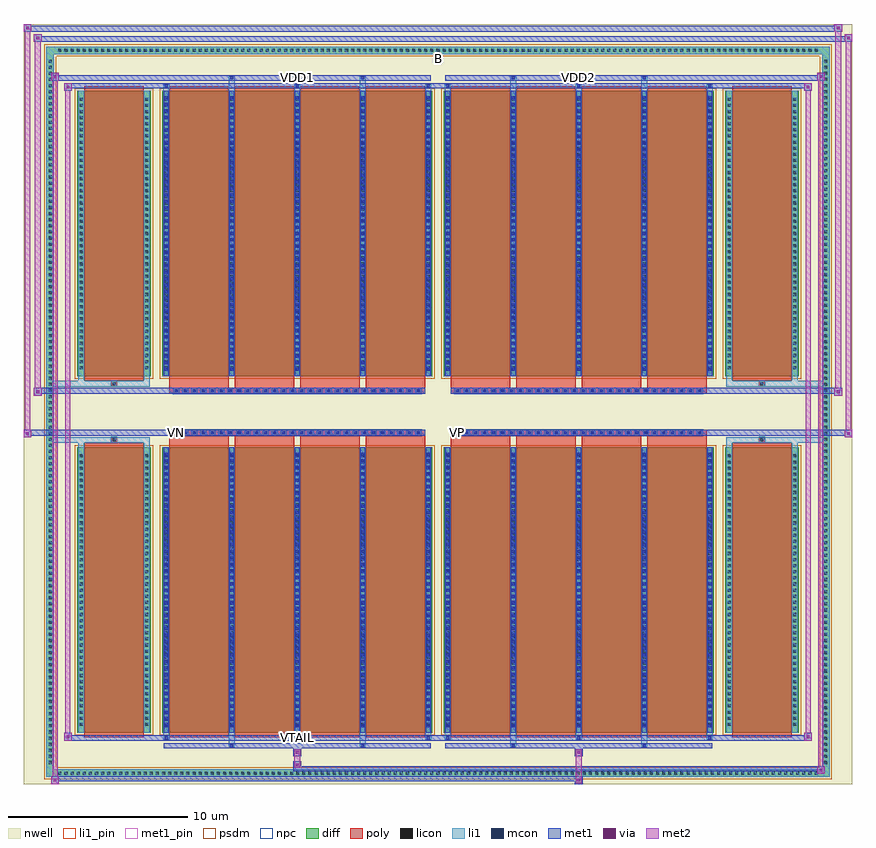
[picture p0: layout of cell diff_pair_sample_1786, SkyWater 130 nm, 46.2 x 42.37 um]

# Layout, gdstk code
import gdstk
lib = gdstk.Library(unit=1e-6, precision=5e-09)
def R(c, l, rs):  # rectangles x0, y0, x1, y1
    for r in rs: c.add(gdstk.rectangle(r[:2], r[2:], *l))
def A(c, l, x, y, w, h, nx, ny, dx, dy):  # array of equal rectangles
    R(c, l, [(x+i*dx, y+j*dy, x+i*dx+w, y+j*dy+h) for i in range(nx) for j in range(ny)])
def P(c, l, *ps):  # polygons
    for p in ps: c.add(gdstk.Polygon(p, *l))
nwell = (64, 20)
diff = (65, 20)
poly = (66, 20)
licon = (66, 44)
li1_pin = (67, 16)
li1 = (67, 20)
mcon = (67, 44)
met1_pin = (68, 16)
met1 = (68, 20)
via = (68, 44)
met2 = (69, 20)
psdm = (94, 20)
npc = (95, 20)

diff_pair_sample_1786 = lib.new_cell('diff_pair_sample_1786')
R(diff_pair_sample_1786, nwell, [(-23.1,-20.75,23.1,21.62), (-20.42,-18.94,-0.01,-0.8), (0.01,-18.94,20.42,-0.8), (-20.42,0.8,-0.01,18.94), (0.01,0.8,20.42,18.94)])
A(diff_pair_sample_1786, diff, -21.285, -20.35, 0.41, 0.41, 125, 2, 0.34, 40.29)
A(diff_pair_sample_1786, diff, -21.83, -19.755, 0.41, 0.41, 1, 116, 0, 0.34)
A(diff_pair_sample_1786, diff, 21.42, -19.755, 0.41, 0.41, 1, 116, 0, 0.34)
R(diff_pair_sample_1786, diff, [(-21.285,-20.35,21.285,-19.94), (-21.83,-19.755,-21.42,19.755), (21.42,-19.755,21.83,19.755), (-20.11,-17.895,-16.01,-1.985), (-15.37,-17.895,-0.32,-1.985), (0.32,-17.895,15.37,-1.985), (16.01,-17.895,20.11,-1.985), (-20.11,1.985,-16.01,17.895), (-15.37,1.985,-0.32,17.895), (0.32,1.985,15.37,17.895), (16.01,1.985,20.11,17.895), (-21.285,19.94,21.285,20.35)])
P(diff_pair_sample_1786, diff, [(21.83,20.35),(-21.83,20.35),(-21.83,-19.94),(-21.42,-19.94),(-21.42,19.94),(21.42,19.94),(21.42,-19.94),(-21.42,-19.94),(-21.83,-19.94),(-21.83,-20.35),(21.83,-20.35)])
A(diff_pair_sample_1786, poly, -14.98, -18.145, 3.32, 16.41, 4, 2, 3.65, 19.88)
A(diff_pair_sample_1786, poly, 0.71, -18.145, 3.32, 16.41, 4, 2, 3.65, 19.88)
A(diff_pair_sample_1786, poly, -14.98, -1.735, 3.32, 0.405, 4, 2, 3.65, 3.065)
A(diff_pair_sample_1786, poly, 0.71, -1.735, 3.32, 0.405, 4, 2, 3.65, 3.065)
A(diff_pair_sample_1786, poly, -14.76, -1.33, 0.33, 0.33, 28, 2, 0.5, 2.33)
A(diff_pair_sample_1786, poly, 0.93, -1.33, 0.33, 0.33, 28, 2, 0.5, 2.33)
R(diff_pair_sample_1786, poly, [(-19.72,-18.145,-16.4,-1.735), (16.4,-18.145,19.72,-1.735), (-18.225,-1.735,-17.895,-1.405), (-18.225,-1.735,-17.895,-1.405), (17.895,-1.735,18.225,-1.405), (17.895,-1.735,18.225,-1.405), (-14.98,-1.33,-0.71,-1), (0.71,-1.33,14.98,-1), (-14.98,1,-0.71,1.33), (0.71,1,14.98,1.33), (-18.225,1.405,-17.895,1.735), (-18.225,1.405,-17.895,1.735), (17.895,1.405,18.225,1.735), (17.895,1.405,18.225,1.735), (-19.72,1.735,-16.4,18.145), (16.4,1.735,19.72,18.145)])
A(diff_pair_sample_1786, licon, -21.165, -20.23, 0.17, 0.17, 125, 2, 0.34, 40.29)
A(diff_pair_sample_1786, licon, -21.71, -19.635, 0.17, 0.17, 1, 116, 0, 0.34)
A(diff_pair_sample_1786, licon, 21.54, -19.635, 0.17, 0.17, 1, 116, 0, 0.34)
A(diff_pair_sample_1786, licon, -19.97, -17.505, 0.17, 0.17, 1, 45, 0, 0.34)
A(diff_pair_sample_1786, licon, -16.32, -17.505, 0.17, 0.17, 1, 45, 0, 0.34)
A(diff_pair_sample_1786, licon, -15.23, -17.505, 0.17, 0.17, 5, 45, 3.65, 0.34)
A(diff_pair_sample_1786, licon, 0.46, -17.505, 0.17, 0.17, 5, 45, 3.65, 0.34)
A(diff_pair_sample_1786, licon, 16.15, -17.505, 0.17, 0.17, 1, 45, 0, 0.34)
A(diff_pair_sample_1786, licon, 19.8, -17.505, 0.17, 0.17, 1, 45, 0, 0.34)
A(diff_pair_sample_1786, licon, -14.68, -1.25, 0.17, 0.17, 28, 2, 0.5, 2.33)
A(diff_pair_sample_1786, licon, 1.01, -1.25, 0.17, 0.17, 28, 2, 0.5, 2.33)
A(diff_pair_sample_1786, licon, -19.97, 2.375, 0.17, 0.17, 1, 45, 0, 0.34)
A(diff_pair_sample_1786, licon, -16.32, 2.375, 0.17, 0.17, 1, 45, 0, 0.34)
A(diff_pair_sample_1786, licon, -15.23, 2.375, 0.17, 0.17, 5, 45, 3.65, 0.34)
A(diff_pair_sample_1786, licon, 0.46, 2.375, 0.17, 0.17, 5, 45, 3.65, 0.34)
A(diff_pair_sample_1786, licon, 16.15, 2.375, 0.17, 0.17, 1, 45, 0, 0.34)
A(diff_pair_sample_1786, licon, 19.8, 2.375, 0.17, 0.17, 1, 45, 0, 0.34)
R(diff_pair_sample_1786, licon, [(-18.145,-1.655,-17.975,-1.485), (17.975,-1.655,18.145,-1.485), (-18.145,1.485,-17.975,1.655), (17.975,1.485,18.145,1.655)])
R(diff_pair_sample_1786, li1_pin, [(-0.25,19.44,0.25,19.94)])
A(diff_pair_sample_1786, li1, -21.245, -20.31, 0.33, 0.33, 125, 2, 0.34, 40.29)
A(diff_pair_sample_1786, li1, -21.79, -19.715, 0.33, 0.33, 1, 116, 0, 0.34)
A(diff_pair_sample_1786, li1, 21.46, -19.715, 0.33, 0.33, 1, 116, 0, 0.34)
A(diff_pair_sample_1786, li1, -15.31, -18.27, 0.33, 0.375, 3, 2, 7.3, 36.165)
A(diff_pair_sample_1786, li1, -15.23, -18.27, 0.17, 0.17, 3, 2, 7.3, 36.37)
A(diff_pair_sample_1786, li1, 0.38, -18.27, 0.33, 0.375, 3, 2, 7.3, 36.165)
A(diff_pair_sample_1786, li1, 0.46, -18.27, 0.17, 0.17, 3, 2, 7.3, 36.37)
A(diff_pair_sample_1786, li1, -15.31, -17.895, 0.33, 15.91, 5, 2, 3.65, 19.88)
A(diff_pair_sample_1786, li1, 0.38, -17.895, 0.33, 15.91, 5, 2, 3.65, 19.88)
A(diff_pair_sample_1786, li1, -20.05, -17.585, 0.33, 0.33, 1, 45, 0, 0.34)
A(diff_pair_sample_1786, li1, -16.4, -17.585, 0.33, 0.33, 1, 45, 0, 0.34)
A(diff_pair_sample_1786, li1, -15.31, -17.585, 0.33, 0.33, 5, 45, 3.65, 0.34)
A(diff_pair_sample_1786, li1, -15.23, -17.585, 0.17, 0.17, 5, 43, 3.65, 0.36)
A(diff_pair_sample_1786, li1, -15.23, -17.585, 0.17, 15.29, 5, 2, 3.65, 19.88)
A(diff_pair_sample_1786, li1, 0.38, -17.585, 0.33, 0.33, 5, 45, 3.65, 0.34)
A(diff_pair_sample_1786, li1, 0.46, -17.585, 0.17, 0.17, 5, 43, 3.65, 0.36)
A(diff_pair_sample_1786, li1, 0.46, -17.585, 0.17, 15.29, 5, 2, 3.65, 19.88)
A(diff_pair_sample_1786, li1, 16.07, -17.585, 0.33, 0.33, 1, 45, 0, 0.34)
A(diff_pair_sample_1786, li1, 19.72, -17.585, 0.33, 0.33, 1, 45, 0, 0.34)
A(diff_pair_sample_1786, li1, -14.76, -1.33, 0.33, 0.33, 28, 2, 0.5, 2.33)
A(diff_pair_sample_1786, li1, 0.93, -1.33, 0.33, 0.33, 28, 2, 0.5, 2.33)
A(diff_pair_sample_1786, li1, -20.05, 2.295, 0.33, 0.33, 1, 45, 0, 0.34)
A(diff_pair_sample_1786, li1, -16.4, 2.295, 0.33, 0.33, 1, 45, 0, 0.34)
A(diff_pair_sample_1786, li1, -15.31, 2.295, 0.33, 0.33, 5, 45, 3.65, 0.34)
A(diff_pair_sample_1786, li1, -15.23, 2.295, 0.17, 0.17, 5, 43, 3.65, 0.36)
A(diff_pair_sample_1786, li1, 0.38, 2.295, 0.33, 0.33, 5, 45, 3.65, 0.34)
A(diff_pair_sample_1786, li1, 0.46, 2.295, 0.17, 0.17, 5, 43, 3.65, 0.36)
A(diff_pair_sample_1786, li1, 16.07, 2.295, 0.33, 0.33, 1, 45, 0, 0.34)
A(diff_pair_sample_1786, li1, 19.72, 2.295, 0.33, 0.33, 1, 45, 0, 0.34)
R(diff_pair_sample_1786, li1, [(-21.83,-20.35,-21.42,-19.94), (-21.83,-20.35,-21.42,-19.94), (-21.42,-20.35,21.42,-19.94), (21.42,-20.35,21.83,-19.94), (21.42,-20.35,21.83,-19.94), (-21.83,-19.94,-21.42,19.94), (21.42,-19.94,21.83,19.94), (-11.66,-18.7,-11.33,-17.895), (-11.58,-18.7,-11.41,-18.53), (-4.36,-18.7,-4.03,-17.895), (-4.28,-18.7,-4.11,-18.53), (4.03,-18.7,4.36,-17.895), (4.11,-18.7,4.28,-18.53), (11.33,-18.7,11.66,-17.895), (11.41,-18.7,11.58,-18.53), (-20.05,-17.895,-19.72,-1.985), (-16.4,-17.895,-16.07,-1.985), (16.07,-17.895,16.4,-1.985), (19.72,-17.895,20.05,-1.985), (-20.05,-1.985,-19.72,-1.405), (-16.4,-1.985,-16.07,-1.405), (16.07,-1.985,16.4,-1.405), (19.72,-1.985,20.05,-1.405), (-21.83,-1.735,-18.225,-1.405), (-20.05,-1.735,-18.225,-1.405), (-18.225,-1.735,-17.895,-1.405), (-17.895,-1.735,-16.07,-1.405), (16.07,-1.735,17.895,-1.405), (17.895,-1.735,18.225,-1.405), (17.895,-1.735,21.83,-1.405), (18.225,-1.735,20.05,-1.405), (-21.83,1.405,-18.225,1.735), (-20.05,1.405,-18.225,1.735), (-20.05,1.405,-19.72,1.985), (-18.225,1.405,-17.895,1.735), (-17.895,1.405,-16.07,1.735), (-16.4,1.405,-16.07,1.985), (16.07,1.405,17.895,1.735), (16.07,1.405,16.4,1.985), (17.895,1.405,18.225,1.735), (17.895,1.405,21.83,1.735), (18.225,1.405,20.05,1.735), (19.72,1.405,20.05,1.985), (-20.05,1.985,-19.72,17.895), (-16.4,1.985,-16.07,17.895), (16.07,1.985,16.4,17.895), (19.72,1.985,20.05,17.895), (-11.66,17.895,-11.33,18.7), (-4.36,17.895,-4.03,18.7), (4.03,17.895,4.36,18.7), (11.33,17.895,11.66,18.7), (-11.58,18.53,-11.41,18.7), (-4.28,18.53,-4.11,18.7), (4.11,18.53,4.28,18.7), (11.41,18.53,11.58,18.7), (-21.83,19.94,-21.42,20.35), (-21.83,19.94,-21.42,20.35), (-21.42,19.94,21.42,20.35), (21.42,19.94,21.83,20.35), (21.42,19.94,21.83,20.35)])
A(diff_pair_sample_1786, mcon, -15.23, -18.27, 0.17, 0.17, 3, 2, 7.3, 36.37)
A(diff_pair_sample_1786, mcon, 0.46, -18.27, 0.17, 0.17, 3, 2, 7.3, 36.37)
A(diff_pair_sample_1786, mcon, -15.23, -17.585, 0.17, 0.17, 5, 43, 3.65, 0.36)
A(diff_pair_sample_1786, mcon, 0.46, -17.585, 0.17, 0.17, 5, 43, 3.65, 0.36)
A(diff_pair_sample_1786, mcon, -14.68, -1.25, 0.17, 0.17, 28, 2, 0.5, 2.33)
A(diff_pair_sample_1786, mcon, 1.01, -1.25, 0.17, 0.17, 28, 2, 0.5, 2.33)
A(diff_pair_sample_1786, mcon, -15.23, 2.295, 0.17, 0.17, 5, 43, 3.65, 0.36)
A(diff_pair_sample_1786, mcon, 0.46, 2.295, 0.17, 0.17, 5, 43, 3.65, 0.36)
R(diff_pair_sample_1786, mcon, [(-11.58,-18.7,-11.41,-18.53), (-4.28,-18.7,-4.11,-18.53), (4.11,-18.7,4.28,-18.53), (11.41,-18.7,11.58,-18.53), (-11.58,18.53,-11.41,18.7), (-4.28,18.53,-4.11,18.7), (4.11,18.53,4.28,18.7), (11.41,18.53,11.58,18.7)])
R(diff_pair_sample_1786, met1_pin, [(-7.98,-18.31,-7.71,-18.04), (-14.73,-1.29,-14.46,-1.02), (0.96,-1.29,1.23,-1.02), (-7.98,18.49,-7.71,18.76), (7.71,18.49,7.98,18.76)])
A(diff_pair_sample_1786, met1, -15.29, -18.33, 0.29, 0.29, 3, 2, 7.3, 36.37)
A(diff_pair_sample_1786, met1, 0.4, -18.33, 0.29, 0.29, 3, 2, 7.3, 36.37)
A(diff_pair_sample_1786, met1, -15.29, -17.895, 0.29, 15.91, 5, 2, 3.65, 19.88)
A(diff_pair_sample_1786, met1, 0.4, -17.895, 0.29, 15.91, 5, 2, 3.65, 19.88)
A(diff_pair_sample_1786, met1, -15.29, -17.645, 0.29, 0.29, 5, 43, 3.65, 0.36)
A(diff_pair_sample_1786, met1, 0.4, -17.645, 0.29, 0.29, 5, 43, 3.65, 0.36)
A(diff_pair_sample_1786, met1, -14.74, -1.31, 0.29, 0.29, 28, 2, 0.5, 2.33)
A(diff_pair_sample_1786, met1, 0.95, -1.31, 0.29, 0.29, 28, 2, 0.5, 2.33)
A(diff_pair_sample_1786, met1, -15.29, 2.235, 0.29, 0.29, 5, 43, 3.65, 0.36)
A(diff_pair_sample_1786, met1, 0.4, 2.235, 0.29, 0.29, 5, 43, 3.65, 0.36)
R(diff_pair_sample_1786, met1, [(-21.56,-20.75,-21.13,-20.32), (7.63,-20.75,8.06,-20.32), (-21.56,-20.61,8.06,-20.32), (21.13,-20.18,21.56,-19.75), (-8.06,-20.04,21.56,-19.75), (-8.06,-19.9,-7.63,-19.47), (-8.06,-19.19,-7.63,-18.76), (7.63,-19.19,8.06,-18.76), (-15.29,-18.76,-0.4,-18.47), (-11.64,-18.76,-11.35,-18.47), (-4.34,-18.76,-4.05,-18.47), (0.4,-18.76,15.29,-18.47), (4.05,-18.76,4.34,-18.47), (11.35,-18.76,11.64,-18.47), (-20.85,-18.33,-20.42,-17.9), (-20.85,-18.33,-15.29,-18.04), (-15.29,-18.33,-0.4,-18.04), (-0.4,-18.33,0.4,-18.04), (0.4,-18.33,15.29,-18.04), (15.29,-18.33,20.85,-18.04), (20.42,-18.33,20.85,-17.9), (-23.1,-1.43,-22.67,-1), (22.67,-1.43,23.1,-1), (-23.1,-1.33,-0.71,-1), (-14.98,-1.33,-0.71,-1), (0.71,-1.33,14.98,-1), (0.71,-1.33,23.1,-1), (-22.53,0.9,-22.1,1.33), (22.1,0.9,22.53,1.33), (-22.53,1,-14.98,1.33), (-14.98,1,-0.71,1.33), (0.71,1,14.98,1.33), (14.98,1,22.53,1.33), (-20.85,17.9,-20.42,18.33), (20.42,17.9,20.85,18.33), (-20.85,18.04,-15.29,18.33), (-15.29,18.04,-0.4,18.33), (-0.4,18.04,0.4,18.33), (0.4,18.04,15.29,18.33), (15.29,18.04,20.85,18.33), (-21.56,18.47,-21.13,18.9), (-21.56,18.47,-15.29,18.76), (-15.29,18.47,-0.4,18.76), (-11.64,18.47,-11.35,18.76), (-4.34,18.47,-4.05,18.76), (0.4,18.47,15.29,18.76), (4.05,18.47,4.34,18.76), (11.35,18.47,11.64,18.76), (15.29,18.47,21.56,18.76), (21.13,18.47,21.56,18.9), (-22.53,20.62,-22.1,21.05), (-22.53,20.62,-20.42,20.95), (-20.42,20.62,20.42,20.95), (20.42,20.62,23.1,20.95), (22.67,20.62,23.1,21.05), (-23.1,21.19,-22.67,21.62), (-23.1,21.19,-20.42,21.52), (-20.42,21.19,20.42,21.52), (20.42,21.19,22.53,21.52), (22.1,21.19,22.53,21.62)])
R(diff_pair_sample_1786, via, [(-21.42,-20.61,-21.27,-20.46), (7.77,-20.61,7.92,-20.46), (21.27,-20.04,21.42,-19.89), (-7.92,-19.76,-7.77,-19.61), (-7.92,-19.05,-7.77,-18.9), (7.77,-19.05,7.92,-18.9), (-20.71,-18.19,-20.56,-18.04), (20.56,-18.19,20.71,-18.04), (-22.96,-1.29,-22.81,-1.14), (22.81,-1.29,22.96,-1.14), (-22.39,1.04,-22.24,1.19), (22.24,1.04,22.39,1.19), (-20.71,18.04,-20.56,18.19), (20.56,18.04,20.71,18.19), (-21.42,18.61,-21.27,18.76), (21.27,18.61,21.42,18.76), (-22.39,20.76,-22.24,20.91), (22.81,20.76,22.96,20.91), (-22.96,21.33,-22.81,21.48), (22.24,21.33,22.39,21.48)])
R(diff_pair_sample_1786, met2, [(-21.56,-20.75,-21.13,-20.32), (-21.49,-20.75,-21.2,18.9), (-21.2,-20.75,-21.13,-20.32), (-21.51,-20.7,-21.18,-20.37), (7.68,-20.7,8.01,-20.37), (7.68,-20.37,8.01,-19.14), (21.13,-20.18,21.56,-19.75), (21.2,-20.18,21.49,18.9), (21.49,-20.18,21.56,-19.75), (21.18,-20.13,21.51,-19.8), (-8.01,-19.85,-7.68,-19.52), (-8.01,-19.52,-7.68,-19.14), (-8.01,-19.14,-7.68,-18.81), (7.68,-19.14,8.01,-18.81), (-20.85,-18.33,-20.42,-17.9), (-20.78,-18.33,-20.49,18.33), (-20.49,-18.33,-20.42,-17.9), (20.42,-18.33,20.85,-17.9), (20.49,-18.33,20.78,18.33), (20.78,-18.33,20.85,-17.9), (-20.8,-18.28,-20.47,-17.95), (20.47,-18.28,20.8,-17.95), (-23.1,-1.43,-22.67,-1), (-23.05,-1.43,-22.72,21.62), (-22.72,-1.43,-22.67,-1), (22.67,-1.43,23.1,-1), (22.72,-1.43,23.05,21.05), (23.05,-1.43,23.1,-1), (-23.05,-1.38,-22.72,-1.05), (22.72,-1.38,23.05,-1.05), (-22.53,0.9,-22.1,1.33), (-22.48,0.9,-22.15,21.05), (-22.15,0.9,-22.1,1.33), (22.1,0.9,22.53,1.33), (22.15,0.9,22.48,21.62), (22.48,0.9,22.53,1.33), (-22.48,0.95,-22.15,1.28), (22.15,0.95,22.48,1.28), (-20.85,17.9,-20.42,18.33), (-20.49,17.9,-20.42,18.33), (20.42,17.9,20.85,18.33), (20.78,17.9,20.85,18.33), (-20.8,17.95,-20.47,18.28), (20.47,17.95,20.8,18.28), (-21.56,18.47,-21.13,18.9), (-21.2,18.47,-21.13,18.9), (21.13,18.47,21.56,18.9), (21.49,18.47,21.56,18.9), (-21.51,18.52,-21.18,18.85), (21.18,18.52,21.51,18.85), (-22.53,20.62,-22.1,21.05), (-22.15,20.62,-22.1,21.05), (22.67,20.62,23.1,21.05), (23.05,20.62,23.1,21.05), (-22.48,20.67,-22.15,21), (22.72,20.67,23.05,21), (-23.1,21.19,-22.67,21.62), (-22.72,21.19,-22.67,21.62), (22.1,21.19,22.53,21.62), (22.48,21.19,22.53,21.62), (-23.05,21.24,-22.72,21.57), (22.15,21.24,22.48,21.57)])
R(diff_pair_sample_1786, psdm, [(-20.24,-18.025,-15.88,-1.855), (-15.5,-18.025,-0.19,-1.855), (0.19,-18.025,15.5,-1.855), (15.88,-18.025,20.24,-1.855), (-20.24,1.855,-15.88,18.025), (-15.5,1.855,-0.19,18.025), (0.19,1.855,15.5,18.025), (15.88,1.855,20.24,18.025)])
P(diff_pair_sample_1786, psdm, [(21.96,20.48),(-21.96,20.48),(-21.96,-19.81),(-21.29,-19.81),(-21.29,19.81),(21.29,19.81),(21.29,-19.81),(-21.29,-19.81),(-21.96,-19.81),(-21.96,-20.48),(21.96,-20.48)])
A(diff_pair_sample_1786, npc, -14.78, -1.35, 0.37, 0.37, 28, 2, 0.5, 2.33)
A(diff_pair_sample_1786, npc, 0.91, -1.35, 0.37, 0.37, 28, 2, 0.5, 2.33)
R(diff_pair_sample_1786, npc, [(-18.245,-1.755,-17.875,-1.385), (17.875,-1.755,18.245,-1.385), (-14.78,-1.35,-13.91,-0.98), (-14.78,-1.35,-13.91,-0.98), (-14.28,-1.35,-13.41,-0.98), (-14.28,-1.35,-13.41,-0.98), (-13.78,-1.35,-12.91,-0.98), (-13.78,-1.35,-12.91,-0.98), (-13.28,-1.35,-12.41,-0.98), (-13.28,-1.35,-12.41,-0.98), (-12.78,-1.35,-11.91,-0.98), (-12.78,-1.35,-11.91,-0.98), (-12.28,-1.35,-11.41,-0.98), (-12.28,-1.35,-11.41,-0.98), (-11.78,-1.35,-10.91,-0.98), (-11.78,-1.35,-10.91,-0.98), (-11.28,-1.35,-10.41,-0.98), (-11.28,-1.35,-10.41,-0.98), (-10.78,-1.35,-9.91,-0.98), (-10.78,-1.35,-9.91,-0.98), (-10.28,-1.35,-9.41,-0.98), (-10.28,-1.35,-9.41,-0.98), (-9.78,-1.35,-8.91,-0.98), (-9.78,-1.35,-8.91,-0.98), (-9.28,-1.35,-8.41,-0.98), (-9.28,-1.35,-8.41,-0.98), (-8.78,-1.35,-7.91,-0.98), (-8.78,-1.35,-7.91,-0.98), (-8.28,-1.35,-7.41,-0.98), (-8.28,-1.35,-7.41,-0.98), (-7.78,-1.35,-6.91,-0.98), (-7.78,-1.35,-6.91,-0.98), (-7.28,-1.35,-6.41,-0.98), (-7.28,-1.35,-6.41,-0.98), (-6.78,-1.35,-5.91,-0.98), (-6.78,-1.35,-5.91,-0.98), (-6.28,-1.35,-5.41,-0.98), (-6.28,-1.35,-5.41,-0.98), (-5.78,-1.35,-4.91,-0.98), (-5.78,-1.35,-4.91,-0.98), (-5.28,-1.35,-4.41,-0.98), (-5.28,-1.35,-4.41,-0.98), (-4.78,-1.35,-3.91,-0.98), (-4.78,-1.35,-3.91,-0.98), (-4.28,-1.35,-3.41,-0.98), (-4.28,-1.35,-3.41,-0.98), (-3.78,-1.35,-2.91,-0.98), (-3.78,-1.35,-2.91,-0.98), (-3.28,-1.35,-2.41,-0.98), (-3.28,-1.35,-2.41,-0.98), (-2.78,-1.35,-1.91,-0.98), (-2.78,-1.35,-1.91,-0.98), (-2.28,-1.35,-1.41,-0.98), (-2.28,-1.35,-1.41,-0.98), (-1.78,-1.35,-0.91,-0.98), (-1.78,-1.35,-0.91,-0.98), (0.91,-1.35,1.78,-0.98), (0.91,-1.35,1.78,-0.98), (1.41,-1.35,2.28,-0.98), (1.41,-1.35,2.28,-0.98), (1.91,-1.35,2.78,-0.98), (1.91,-1.35,2.78,-0.98), (2.41,-1.35,3.28,-0.98), (2.41,-1.35,3.28,-0.98), (2.91,-1.35,3.78,-0.98), (2.91,-1.35,3.78,-0.98), (3.41,-1.35,4.28,-0.98), (3.41,-1.35,4.28,-0.98), (3.91,-1.35,4.78,-0.98), (3.91,-1.35,4.78,-0.98), (4.41,-1.35,5.28,-0.98), (4.41,-1.35,5.28,-0.98), (4.91,-1.35,5.78,-0.98), (4.91,-1.35,5.78,-0.98), (5.41,-1.35,6.28,-0.98), (5.41,-1.35,6.28,-0.98), (5.91,-1.35,6.78,-0.98), (5.91,-1.35,6.78,-0.98), (6.41,-1.35,7.28,-0.98), (6.41,-1.35,7.28,-0.98), (6.91,-1.35,7.78,-0.98), (6.91,-1.35,7.78,-0.98), (7.41,-1.35,8.28,-0.98), (7.41,-1.35,8.28,-0.98), (7.91,-1.35,8.78,-0.98), (7.91,-1.35,8.78,-0.98), (8.41,-1.35,9.28,-0.98), (8.41,-1.35,9.28,-0.98), (8.91,-1.35,9.78,-0.98), (8.91,-1.35,9.78,-0.98), (9.41,-1.35,10.28,-0.98), (9.41,-1.35,10.28,-0.98), (9.91,-1.35,10.78,-0.98), (9.91,-1.35,10.78,-0.98), (10.41,-1.35,11.28,-0.98), (10.41,-1.35,11.28,-0.98), (10.91,-1.35,11.78,-0.98), (10.91,-1.35,11.78,-0.98), (11.41,-1.35,12.28,-0.98), (11.41,-1.35,12.28,-0.98), (11.91,-1.35,12.78,-0.98), (11.91,-1.35,12.78,-0.98), (12.41,-1.35,13.28,-0.98), (12.41,-1.35,13.28,-0.98), (12.91,-1.35,13.78,-0.98), (12.91,-1.35,13.78,-0.98), (13.41,-1.35,14.28,-0.98), (13.41,-1.35,14.28,-0.98), (13.91,-1.35,14.78,-0.98), (13.91,-1.35,14.78,-0.98), (-14.78,0.98,-13.91,1.35), (-14.78,0.98,-13.91,1.35), (-14.28,0.98,-13.41,1.35), (-14.28,0.98,-13.41,1.35), (-13.78,0.98,-12.91,1.35), (-13.78,0.98,-12.91,1.35), (-13.28,0.98,-12.41,1.35), (-13.28,0.98,-12.41,1.35), (-12.78,0.98,-11.91,1.35), (-12.78,0.98,-11.91,1.35), (-12.28,0.98,-11.41,1.35), (-12.28,0.98,-11.41,1.35), (-11.78,0.98,-10.91,1.35), (-11.78,0.98,-10.91,1.35), (-11.28,0.98,-10.41,1.35), (-11.28,0.98,-10.41,1.35), (-10.78,0.98,-9.91,1.35), (-10.78,0.98,-9.91,1.35), (-10.28,0.98,-9.41,1.35), (-10.28,0.98,-9.41,1.35), (-9.78,0.98,-8.91,1.35), (-9.78,0.98,-8.91,1.35), (-9.28,0.98,-8.41,1.35), (-9.28,0.98,-8.41,1.35), (-8.78,0.98,-7.91,1.35), (-8.78,0.98,-7.91,1.35), (-8.28,0.98,-7.41,1.35), (-8.28,0.98,-7.41,1.35), (-7.78,0.98,-6.91,1.35), (-7.78,0.98,-6.91,1.35), (-7.28,0.98,-6.41,1.35), (-7.28,0.98,-6.41,1.35), (-6.78,0.98,-5.91,1.35), (-6.78,0.98,-5.91,1.35), (-6.28,0.98,-5.41,1.35), (-6.28,0.98,-5.41,1.35), (-5.78,0.98,-4.91,1.35), (-5.78,0.98,-4.91,1.35), (-5.28,0.98,-4.41,1.35), (-5.28,0.98,-4.41,1.35), (-4.78,0.98,-3.91,1.35), (-4.78,0.98,-3.91,1.35), (-4.28,0.98,-3.41,1.35), (-4.28,0.98,-3.41,1.35), (-3.78,0.98,-2.91,1.35), (-3.78,0.98,-2.91,1.35), (-3.28,0.98,-2.41,1.35), (-3.28,0.98,-2.41,1.35), (-2.78,0.98,-1.91,1.35), (-2.78,0.98,-1.91,1.35), (-2.28,0.98,-1.41,1.35), (-2.28,0.98,-1.41,1.35), (-1.78,0.98,-0.91,1.35), (-1.78,0.98,-0.91,1.35), (0.91,0.98,1.78,1.35), (0.91,0.98,1.78,1.35), (1.41,0.98,2.28,1.35), (1.41,0.98,2.28,1.35), (1.91,0.98,2.78,1.35), (1.91,0.98,2.78,1.35), (2.41,0.98,3.28,1.35), (2.41,0.98,3.28,1.35), (2.91,0.98,3.78,1.35), (2.91,0.98,3.78,1.35), (3.41,0.98,4.28,1.35), (3.41,0.98,4.28,1.35), (3.91,0.98,4.78,1.35), (3.91,0.98,4.78,1.35), (4.41,0.98,5.28,1.35), (4.41,0.98,5.28,1.35), (4.91,0.98,5.78,1.35), (4.91,0.98,5.78,1.35), (5.41,0.98,6.28,1.35), (5.41,0.98,6.28,1.35), (5.91,0.98,6.78,1.35), (5.91,0.98,6.78,1.35), (6.41,0.98,7.28,1.35), (6.41,0.98,7.28,1.35), (6.91,0.98,7.78,1.35), (6.91,0.98,7.78,1.35), (7.41,0.98,8.28,1.35), (7.41,0.98,8.28,1.35), (7.91,0.98,8.78,1.35), (7.91,0.98,8.78,1.35), (8.41,0.98,9.28,1.35), (8.41,0.98,9.28,1.35), (8.91,0.98,9.78,1.35), (8.91,0.98,9.78,1.35), (9.41,0.98,10.28,1.35), (9.41,0.98,10.28,1.35), (9.91,0.98,10.78,1.35), (9.91,0.98,10.78,1.35), (10.41,0.98,11.28,1.35), (10.41,0.98,11.28,1.35), (10.91,0.98,11.78,1.35), (10.91,0.98,11.78,1.35), (11.41,0.98,12.28,1.35), (11.41,0.98,12.28,1.35), (11.91,0.98,12.78,1.35), (11.91,0.98,12.78,1.35), (12.41,0.98,13.28,1.35), (12.41,0.98,13.28,1.35), (12.91,0.98,13.78,1.35), (12.91,0.98,13.78,1.35), (13.41,0.98,14.28,1.35), (13.41,0.98,14.28,1.35), (13.91,0.98,14.78,1.35), (13.91,0.98,14.78,1.35), (-18.245,1.385,-17.875,1.755), (17.875,1.385,18.245,1.755)])
diff_pair_sample_1786.add(gdstk.Label('VTAIL', (-7.845,-18.175), layer=68, texttype=5))
diff_pair_sample_1786.add(gdstk.Label('VN', (-14.595,-1.155), layer=68, texttype=5))
diff_pair_sample_1786.add(gdstk.Label('VP', (1.095,-1.155), layer=68, texttype=5))
diff_pair_sample_1786.add(gdstk.Label('B', (0,19.69), layer=67, texttype=5))
diff_pair_sample_1786.add(gdstk.Label('VDD2', (7.845,18.625), layer=68, texttype=5))
diff_pair_sample_1786.add(gdstk.Label('VDD1', (-7.845,18.625), layer=68, texttype=5))

lib.write_gds('diff_pair_sample_1786.gds')
